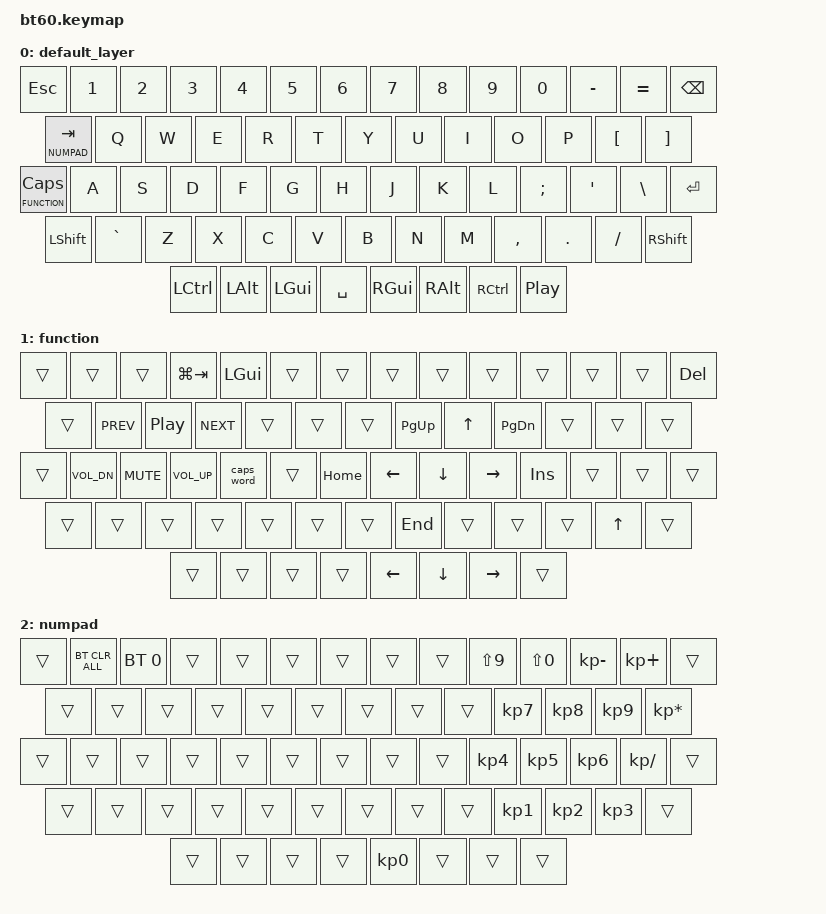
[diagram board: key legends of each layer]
#include <behaviors.dtsi>
#include <dt-bindings/zmk/bt.h>
#include <dt-bindings/zmk/keys.h>

#define FUNCTION 1
#define NUMPAD   2

&caps_word {
    continue-list = <UNDERSCORE MINUS>;
};

/ {
	keymap {
		compatible = "zmk,keymap";
		default_layer {
			bindings = <
				&kp ESC &kp N1 &kp N2 &kp N3 &kp N4 &kp N5 &kp N6 &kp N7 &kp N8 &kp N9 &kp N0 &kp MINUS &kp EQUAL &kp BSPC
				&lt NUMPAD TAB &kp Q &kp W &kp E &kp R &kp T &kp Y &kp U &kp I &kp O &kp P &kp LBKT &kp RBKT
				&lt FUNCTION CAPS &kp A &kp S &kp D &kp F &kp G &kp H &kp J &kp K &kp L &kp SEMI &kp SQT &kp BSLH &kp RET
				&kp LSHFT &kp GRAVE &kp Z &kp X &kp C &kp V &kp B &kp N &kp M &kp COMMA &kp DOT &kp FSLH &kp RSHFT
				&kp LCTRL &kp LALT &kp LGUI &kp SPACE &kp RGUI &kp RALT &kp RCTRL &kp C_PP
			>;
		};
		function {
			bindings = <
				&trans &trans &trans &kp LG(TAB) &kp LGUI &trans &trans &trans &trans &trans &trans &trans &trans &kp DEL
				&trans &kp C_PREV &kp C_PP &kp C_NEXT &trans &trans &trans &kp PG_UP &kp UP &kp PG_DN &trans &trans &trans
				&trans &kp C_VOL_DN &kp C_MUTE &kp C_VOL_UP &caps_word &trans &kp HOME &kp LEFT &kp DOWN &kp RIGHT &kp INS &trans &trans &trans
				&trans &trans &trans &trans &trans &trans &trans &kp END &trans &trans &trans &kp UP &trans
				&trans &trans &trans &trans &kp LEFT &kp DOWN &kp RIGHT &trans
			>;
		};
		numpad {
			bindings = <
				&trans &bt BT_CLR_ALL &bt BT_SEL 0 &trans &trans &trans &trans &trans &trans &kp LS(N9) &kp LS(N0) &kp KP_MINUS &kp KP_PLUS &trans
				&trans &trans &trans &trans &trans &trans &trans &trans &trans &kp KP_N7 &kp KP_N8 &kp KP_N9 &kp KP_MULTIPLY
				&trans &trans &trans &trans &trans &trans &trans &trans &trans &kp KP_N4 &kp KP_N5 &kp KP_N6 &kp KP_DIVIDE &trans
				&trans &trans &trans &trans &trans &trans &trans &trans &trans &kp KP_N1 &kp KP_N2 &kp KP_N3 &trans
				&trans &trans &trans &trans &kp KP_N0 &trans &trans &trans
			>;
		};
	};
};
